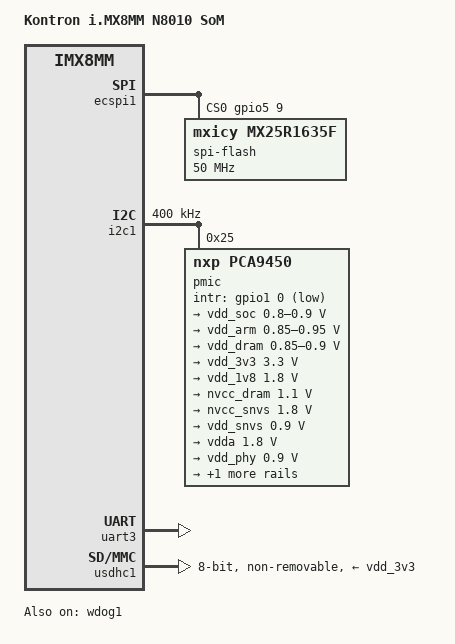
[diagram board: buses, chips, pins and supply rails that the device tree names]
// SPDX-License-Identifier: GPL-2.0
/*
 * Copyright (C) 2019 Kontron Electronics GmbH
 */

#include "imx8mm.dtsi"

/ {
	model = "Kontron i.MX8MM N8010 SoM";
	compatible = "kontron,imx8mm-n8010-som", "fsl,imx8mm";

	chosen {
		stdout-path = &uart3;
	};
};

&A53_0 {
	cpu-supply = <&vdd_arm>;
};

&A53_1 {
	cpu-supply = <&vdd_arm>;
};

&A53_2 {
	cpu-supply = <&vdd_arm>;
};

&A53_3 {
	cpu-supply = <&vdd_arm>;
};

&ecspi1 {
	pinctrl-names = "default";
	pinctrl-0 = <&pinctrl_ecspi1>;
	cs-gpios = <&gpio5 9 GPIO_ACTIVE_HIGH>;
	status = "okay";

	spi-flash@0 {
		compatible = "mxicy,mx25r1635f", "jedec,spi-nor";
		spi-max-frequency = <50000000>;
		reg = <0>;
	};
};

/*
 * Enabling the GPUs with the current kernel version causes some
 * boards to hang when intitalizing the clocks. Disable them for now.
 */
&gpu_2d {
	status = "disabled";
};

&gpu_3d {
	status = "disabled";
};

&i2c1 {
	clock-frequency = <400000>;
	pinctrl-names = "default";
	pinctrl-0 = <&pinctrl_i2c1>;
	status = "okay";

	pmic: pca9450@25 {
		reg = <0x25>;
		compatible = "nxp,pca9450";
		/* PMIC PCA9450 PMIC_nINT GPIO1_IO0 */
		pinctrl-0 = <&pinctrl_pmic>;
		gpio_intr = <&gpio1 0 GPIO_ACTIVE_LOW>;

		regulators {
			#address-cells = <1>;
			#size-cells = <0>;

			pca9450,pmic-buck2-uses-i2c-dvs;
			/* Run/Standby voltage */
			pca9450,pmic-buck2-dvs-voltage = <950000>, <850000>;

			vdd_soc: regulator@0 {
				reg = <0>;
				regulator-compatible = "buck1";
				regulator-name = "vdd_soc";
				regulator-min-microvolt = <800000>;
				regulator-max-microvolt = <900000>;
				regulator-boot-on;
				regulator-always-on;
				regulator-ramp-delay = <3125>;
			};

			vdd_arm: regulator@1 {
				reg = <1>;
				regulator-compatible = "buck2";
				regulator-name = "vdd_arm";
				regulator-min-microvolt = <850000>;
				regulator-max-microvolt = <950000>;
				regulator-boot-on;
				regulator-always-on;
				regulator-ramp-delay = <3125>;
			};

			vdd_dram: regulator@2 {
				reg = <2>;
				regulator-compatible = "buck3";
				regulator-name = "vdd_dram";
				regulator-min-microvolt = <850000>;
				regulator-max-microvolt = <900000>;
				regulator-boot-on;
				regulator-always-on;
			};

			vdd_3v3: regulator@3 {
				reg = <3>;
				regulator-compatible = "buck4";
				regulator-name = "vdd_3v3";
				regulator-min-microvolt = <3300000>;
				regulator-max-microvolt = <3300000>;
				regulator-boot-on;
				regulator-always-on;
			};

			vdd_1v8: regulator@4 {
				reg = <4>;
				regulator-compatible = "buck5";
				regulator-name = "vdd_1v8";
				regulator-min-microvolt = <1800000>;
				regulator-max-microvolt = <1800000>;
				regulator-boot-on;
				regulator-always-on;
			};

			nvcc_dram: regulator@5 {
				reg = <5>;
				regulator-compatible = "buck6";
				regulator-name = "nvcc_dram";
				regulator-min-microvolt = <1100000>;
				regulator-max-microvolt = <1100000>;
				regulator-boot-on;
				regulator-always-on;
			};

			nvcc_snvs: regulator@6 {
				reg = <6>;
				regulator-compatible = "ldo1";
				regulator-name = "nvcc_snvs";
				regulator-min-microvolt = <1800000>;
				regulator-max-microvolt = <1800000>;
				regulator-boot-on;
				regulator-always-on;
			};

			vdd_snvs: regulator@7 {
				reg = <7>;
				regulator-compatible = "ldo2";
				regulator-name = "vdd_snvs";
				regulator-min-microvolt = <900000>;
				regulator-max-microvolt = <900000>;
				regulator-boot-on;
				regulator-always-on;
			};

			vdda: regulator@8 {
				reg = <8>;
				regulator-compatible = "ldo3";
				regulator-name = "vdda";
				regulator-min-microvolt = <1800000>;
				regulator-max-microvolt = <1800000>;
				regulator-boot-on;
				regulator-always-on;
			};

			vdd_phy: regulator@9 {
				reg = <9>;
				regulator-compatible = "ldo4";
				regulator-name = "vdd_phy";
				regulator-min-microvolt = <900000>;
				regulator-max-microvolt = <900000>;
				regulator-boot-on;
				regulator-always-on;
			};

			nvcc_sd: regulator@10 {
				reg = <10>;
				regulator-compatible = "ldo5";
				regulator-name = "nvcc_sd";
				regulator-min-microvolt = <1800000>;
				regulator-max-microvolt = <3300000>;
			};
		};
	};
};

&uart3 { /* console */
	pinctrl-names = "default";
	pinctrl-0 = <&pinctrl_uart3>;
	status = "okay";
};

&usdhc1 {
	pinctrl-names = "default", "state_100mhz", "state_200mhz";
	pinctrl-0 = <&pinctrl_usdhc1>;
	pinctrl-1 = <&pinctrl_usdhc1_100mhz>;
	pinctrl-2 = <&pinctrl_usdhc1_200mhz>;
	vmmc-supply = <&vdd_3v3>;
	vqmmc-supply = <&vdd_1v8>;
	bus-width = <8>;
	non-removable;
	status = "okay";
};

&wdog1 {
	pinctrl-names = "default";
	pinctrl-0 = <&pinctrl_wdog>;
	fsl,ext-reset-output;
	status = "okay";
};

&iomuxc {
	pinctrl_ecspi1: ecspi1grp {
		fsl,pins = <
			MX8MM_IOMUXC_ECSPI1_MISO_ECSPI1_MISO		0x82
			MX8MM_IOMUXC_ECSPI1_MOSI_ECSPI1_MOSI		0x82
			MX8MM_IOMUXC_ECSPI1_SCLK_ECSPI1_SCLK		0x82
			MX8MM_IOMUXC_ECSPI1_SS0_GPIO5_IO9		0x19
		>;
	};

	pinctrl_i2c1: i2c1grp {
		fsl,pins = <
			MX8MM_IOMUXC_I2C1_SCL_I2C1_SCL			0x400001c3
			MX8MM_IOMUXC_I2C1_SDA_I2C1_SDA			0x400001c3
		>;
	};

	pinctrl_pmic: pmicgrp {
		fsl,pins = <
			MX8MM_IOMUXC_GPIO1_IO00_GPIO1_IO0		0x41
		>;
	};

	pinctrl_uart3: uart3grp {
		fsl,pins = <
			MX8MM_IOMUXC_UART3_RXD_UART3_DCE_RX		0x140
			MX8MM_IOMUXC_UART3_TXD_UART3_DCE_TX		0x140
		>;
	};

	pinctrl_usdhc1: usdhc1grp {
		fsl,pins = <
			MX8MM_IOMUXC_SD1_CLK_USDHC1_CLK			0x190
			MX8MM_IOMUXC_SD1_CMD_USDHC1_CMD			0x1d0
			MX8MM_IOMUXC_SD1_DATA0_USDHC1_DATA0		0x1d0
			MX8MM_IOMUXC_SD1_DATA1_USDHC1_DATA1		0x1d0
			MX8MM_IOMUXC_SD1_DATA2_USDHC1_DATA2		0x1d0
			MX8MM_IOMUXC_SD1_DATA3_USDHC1_DATA3		0x1d0
			MX8MM_IOMUXC_SD1_DATA4_USDHC1_DATA4		0x1d0
			MX8MM_IOMUXC_SD1_DATA5_USDHC1_DATA5		0x1d0
			MX8MM_IOMUXC_SD1_DATA6_USDHC1_DATA6		0x1d0
			MX8MM_IOMUXC_SD1_DATA7_USDHC1_DATA7		0x1d0
			MX8MM_IOMUXC_SD1_RESET_B_USDHC1_RESET_B		0x019
			MX8MM_IOMUXC_SD1_STROBE_USDHC1_STROBE		0x190
		>;
	};

	pinctrl_usdhc1_100mhz: usdhc1grp100mhz {
		fsl,pins = <
			MX8MM_IOMUXC_SD1_CLK_USDHC1_CLK			0x194
			MX8MM_IOMUXC_SD1_CMD_USDHC1_CMD			0x1d4
			MX8MM_IOMUXC_SD1_DATA0_USDHC1_DATA0		0x1d4
			MX8MM_IOMUXC_SD1_DATA1_USDHC1_DATA1		0x1d4
			MX8MM_IOMUXC_SD1_DATA2_USDHC1_DATA2		0x1d4
			MX8MM_IOMUXC_SD1_DATA3_USDHC1_DATA3		0x1d4
			MX8MM_IOMUXC_SD1_DATA4_USDHC1_DATA4		0x1d4
			MX8MM_IOMUXC_SD1_DATA5_USDHC1_DATA5		0x1d4
			MX8MM_IOMUXC_SD1_DATA6_USDHC1_DATA6		0x1d4
			MX8MM_IOMUXC_SD1_DATA7_USDHC1_DATA7		0x1d4
			MX8MM_IOMUXC_SD1_RESET_B_USDHC1_RESET_B		0x019
			MX8MM_IOMUXC_SD1_STROBE_USDHC1_STROBE		0x194
		>;
	};

	pinctrl_usdhc1_200mhz: usdhc1grp200mhz {
		fsl,pins = <
			MX8MM_IOMUXC_SD1_CLK_USDHC1_CLK			0x196
			MX8MM_IOMUXC_SD1_CMD_USDHC1_CMD			0x1d6
			MX8MM_IOMUXC_SD1_DATA0_USDHC1_DATA0		0x1d6
			MX8MM_IOMUXC_SD1_DATA1_USDHC1_DATA1		0x1d6
			MX8MM_IOMUXC_SD1_DATA2_USDHC1_DATA2		0x1d6
			MX8MM_IOMUXC_SD1_DATA3_USDHC1_DATA3		0x1d6
			MX8MM_IOMUXC_SD1_DATA4_USDHC1_DATA4		0x1d6
			MX8MM_IOMUXC_SD1_DATA5_USDHC1_DATA5		0x1d6
			MX8MM_IOMUXC_SD1_DATA6_USDHC1_DATA6		0x1d6
			MX8MM_IOMUXC_SD1_DATA7_USDHC1_DATA7		0x1d6
			MX8MM_IOMUXC_SD1_RESET_B_USDHC1_RESET_B		0x019
			MX8MM_IOMUXC_SD1_STROBE_USDHC1_STROBE		0x196
		>;
	};

	pinctrl_wdog: wdoggrp {
		fsl,pins = <
			MX8MM_IOMUXC_GPIO1_IO02_WDOG1_WDOG_B		0xc6
		>;
	};
};
